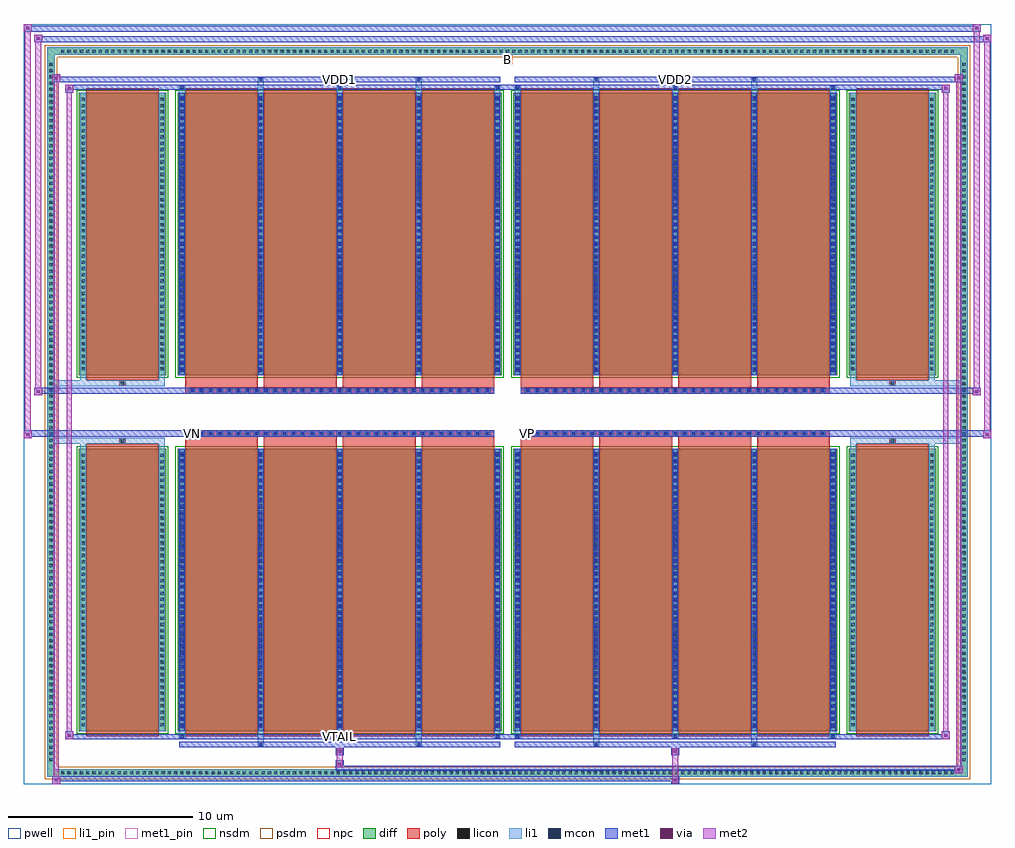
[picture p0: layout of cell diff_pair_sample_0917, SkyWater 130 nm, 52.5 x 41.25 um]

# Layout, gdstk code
import gdstk
lib = gdstk.Library(unit=1e-6, precision=5e-09)
def R(c, l, rs):  # rectangles x0, y0, x1, y1
    for r in rs: c.add(gdstk.rectangle(r[:2], r[2:], *l))
def A(c, l, x, y, w, h, nx, ny, dx, dy):  # array of equal rectangles
    R(c, l, [(x+i*dx, y+j*dy, x+i*dx+w, y+j*dy+h) for i in range(nx) for j in range(ny)])
def P(c, l, *ps):  # polygons
    for p in ps: c.add(gdstk.Polygon(p, *l))
pwell = (64, 44)
diff = (65, 20)
poly = (66, 20)
licon = (66, 44)
li1_pin = (67, 16)
li1 = (67, 20)
mcon = (67, 44)
met1_pin = (68, 16)
met1 = (68, 20)
via = (68, 44)
met2 = (69, 20)
nsdm = (93, 44)
psdm = (94, 20)
npc = (95, 20)

diff_pair_sample_0917 = lib.new_cell('diff_pair_sample_0917')
R(diff_pair_sample_0917, pwell, [(-26.25,-20.19,26.25,21.06), (-23.57,-18.38,-0.01,-0.8), (0.01,-18.38,23.57,-0.8), (-23.57,0.8,-0.01,18.38), (0.01,0.8,23.57,18.38)])
A(diff_pair_sample_0917, diff, -24.345, -19.79, 0.41, 0.41, 143, 2, 0.34, 39.17)
A(diff_pair_sample_0917, diff, -24.98, -19.075, 0.41, 0.41, 1, 112, 0, 0.34)
A(diff_pair_sample_0917, diff, 24.57, -19.075, 0.41, 0.41, 1, 112, 0, 0.34)
R(diff_pair_sample_0917, diff, [(-24.345,-19.79,24.345,-19.38), (-24.98,-19.075,-24.57,19.075), (24.57,-19.075,24.98,19.075), (-23.26,-17.335,-18.53,-1.985), (-17.89,-17.335,-0.32,-1.985), (0.32,-17.335,17.89,-1.985), (18.53,-17.335,23.26,-1.985), (-23.26,1.985,-18.53,17.335), (-17.89,1.985,-0.32,17.335), (0.32,1.985,17.89,17.335), (18.53,1.985,23.26,17.335), (-24.345,19.38,24.345,19.79)])
P(diff_pair_sample_0917, diff, [(24.98,19.79),(-24.98,19.79),(-24.98,-19.38),(-24.57,-19.38),(-24.57,19.38),(24.57,19.38),(24.57,-19.38),(-24.57,-19.38),(-24.98,-19.38),(-24.98,-19.79),(24.98,-19.79)])
A(diff_pair_sample_0917, poly, -17.5, -17.585, 3.95, 15.85, 4, 2, 4.28, 19.32)
A(diff_pair_sample_0917, poly, 0.71, -17.585, 3.95, 15.85, 4, 2, 4.28, 19.32)
A(diff_pair_sample_0917, poly, -17.5, -1.735, 3.95, 0.405, 4, 2, 4.28, 3.065)
A(diff_pair_sample_0917, poly, 0.71, -1.735, 3.95, 0.405, 4, 2, 4.28, 3.065)
A(diff_pair_sample_0917, poly, -17.27, -1.33, 0.33, 0.33, 33, 2, 0.5, 2.33)
A(diff_pair_sample_0917, poly, 0.94, -1.33, 0.33, 0.33, 33, 2, 0.5, 2.33)
R(diff_pair_sample_0917, poly, [(-22.87,-17.585,-18.92,-1.735), (18.92,-17.585,22.87,-1.735), (-21.06,-1.735,-20.73,-1.405), (-21.06,-1.735,-20.73,-1.405), (20.73,-1.735,21.06,-1.405), (20.73,-1.735,21.06,-1.405), (-17.5,-1.33,-0.71,-1), (0.71,-1.33,17.5,-1), (-17.5,1,-0.71,1.33), (0.71,1,17.5,1.33), (-21.06,1.405,-20.73,1.735), (-21.06,1.405,-20.73,1.735), (20.73,1.405,21.06,1.735), (20.73,1.405,21.06,1.735), (-22.87,1.735,-18.92,17.585), (18.92,1.735,22.87,17.585)])
A(diff_pair_sample_0917, licon, -24.225, -19.67, 0.17, 0.17, 143, 2, 0.34, 39.17)
A(diff_pair_sample_0917, licon, -24.86, -18.955, 0.17, 0.17, 1, 112, 0, 0.34)
A(diff_pair_sample_0917, licon, 24.69, -18.955, 0.17, 0.17, 1, 112, 0, 0.34)
A(diff_pair_sample_0917, licon, -23.12, -17.055, 0.17, 0.17, 1, 44, 0, 0.34)
A(diff_pair_sample_0917, licon, -18.84, -17.055, 0.17, 0.17, 1, 44, 0, 0.34)
A(diff_pair_sample_0917, licon, -17.75, -17.055, 0.17, 0.17, 5, 44, 4.28, 0.34)
A(diff_pair_sample_0917, licon, 0.46, -17.055, 0.17, 0.17, 5, 44, 4.28, 0.34)
A(diff_pair_sample_0917, licon, 18.67, -17.055, 0.17, 0.17, 1, 44, 0, 0.34)
A(diff_pair_sample_0917, licon, 22.95, -17.055, 0.17, 0.17, 1, 44, 0, 0.34)
A(diff_pair_sample_0917, licon, -17.19, -1.25, 0.17, 0.17, 33, 2, 0.5, 2.33)
A(diff_pair_sample_0917, licon, 1.02, -1.25, 0.17, 0.17, 33, 2, 0.5, 2.33)
A(diff_pair_sample_0917, licon, -23.12, 2.265, 0.17, 0.17, 1, 44, 0, 0.34)
A(diff_pair_sample_0917, licon, -18.84, 2.265, 0.17, 0.17, 1, 44, 0, 0.34)
A(diff_pair_sample_0917, licon, -17.75, 2.265, 0.17, 0.17, 5, 44, 4.28, 0.34)
A(diff_pair_sample_0917, licon, 0.46, 2.265, 0.17, 0.17, 5, 44, 4.28, 0.34)
A(diff_pair_sample_0917, licon, 18.67, 2.265, 0.17, 0.17, 1, 44, 0, 0.34)
A(diff_pair_sample_0917, licon, 22.95, 2.265, 0.17, 0.17, 1, 44, 0, 0.34)
R(diff_pair_sample_0917, licon, [(-20.98,-1.655,-20.81,-1.485), (20.81,-1.655,20.98,-1.485), (-20.98,1.485,-20.81,1.655), (20.81,1.485,20.98,1.655)])
R(diff_pair_sample_0917, li1_pin, [(-0.25,18.88,0.25,19.38)])
A(diff_pair_sample_0917, li1, -24.305, -19.75, 0.33, 0.33, 143, 2, 0.34, 39.17)
A(diff_pair_sample_0917, li1, -24.94, -19.035, 0.33, 0.33, 1, 112, 0, 0.34)
A(diff_pair_sample_0917, li1, 24.61, -19.035, 0.33, 0.33, 1, 112, 0, 0.34)
A(diff_pair_sample_0917, li1, -17.83, -17.71, 0.33, 0.375, 3, 2, 8.56, 35.045)
A(diff_pair_sample_0917, li1, -17.75, -17.71, 0.17, 0.17, 3, 2, 8.56, 35.25)
A(diff_pair_sample_0917, li1, 0.38, -17.71, 0.33, 0.375, 3, 2, 8.56, 35.045)
A(diff_pair_sample_0917, li1, 0.46, -17.71, 0.17, 0.17, 3, 2, 8.56, 35.25)
A(diff_pair_sample_0917, li1, -17.83, -17.335, 0.33, 15.35, 5, 2, 4.28, 19.32)
A(diff_pair_sample_0917, li1, 0.38, -17.335, 0.33, 15.35, 5, 2, 4.28, 19.32)
A(diff_pair_sample_0917, li1, -23.2, -17.135, 0.33, 0.33, 1, 44, 0, 0.34)
A(diff_pair_sample_0917, li1, -18.92, -17.135, 0.33, 0.33, 1, 44, 0, 0.34)
A(diff_pair_sample_0917, li1, -17.83, -17.135, 0.33, 0.33, 5, 44, 4.28, 0.34)
A(diff_pair_sample_0917, li1, 0.38, -17.135, 0.33, 0.33, 5, 44, 4.28, 0.34)
A(diff_pair_sample_0917, li1, 18.59, -17.135, 0.33, 0.33, 1, 44, 0, 0.34)
A(diff_pair_sample_0917, li1, 22.87, -17.135, 0.33, 0.33, 1, 44, 0, 0.34)
A(diff_pair_sample_0917, li1, -17.75, -17.125, 0.17, 0.17, 5, 42, 4.28, 0.36)
A(diff_pair_sample_0917, li1, -17.75, -17.125, 0.17, 14.93, 5, 2, 4.28, 19.32)
A(diff_pair_sample_0917, li1, 0.46, -17.125, 0.17, 0.17, 5, 42, 4.28, 0.36)
A(diff_pair_sample_0917, li1, 0.46, -17.125, 0.17, 14.93, 5, 2, 4.28, 19.32)
A(diff_pair_sample_0917, li1, -17.27, -1.33, 0.33, 0.33, 33, 2, 0.5, 2.33)
A(diff_pair_sample_0917, li1, 0.94, -1.33, 0.33, 0.33, 33, 2, 0.5, 2.33)
A(diff_pair_sample_0917, li1, -23.2, 2.185, 0.33, 0.33, 1, 44, 0, 0.34)
A(diff_pair_sample_0917, li1, -18.92, 2.185, 0.33, 0.33, 1, 44, 0, 0.34)
A(diff_pair_sample_0917, li1, -17.83, 2.185, 0.33, 0.33, 5, 44, 4.28, 0.34)
A(diff_pair_sample_0917, li1, 0.38, 2.185, 0.33, 0.33, 5, 44, 4.28, 0.34)
A(diff_pair_sample_0917, li1, 18.59, 2.185, 0.33, 0.33, 1, 44, 0, 0.34)
A(diff_pair_sample_0917, li1, 22.87, 2.185, 0.33, 0.33, 1, 44, 0, 0.34)
A(diff_pair_sample_0917, li1, -17.75, 2.195, 0.17, 0.17, 5, 42, 4.28, 0.36)
A(diff_pair_sample_0917, li1, 0.46, 2.195, 0.17, 0.17, 5, 42, 4.28, 0.36)
R(diff_pair_sample_0917, li1, [(-24.98,-19.79,-24.57,-19.38), (-24.98,-19.79,-24.57,-19.38), (-24.57,-19.79,24.57,-19.38), (24.57,-19.79,24.98,-19.38), (24.57,-19.79,24.98,-19.38), (-24.98,-19.38,-24.57,19.38), (24.57,-19.38,24.98,19.38), (-13.55,-18.14,-13.22,-17.335), (-13.47,-18.14,-13.3,-17.97), (-4.99,-18.14,-4.66,-17.335), (-4.91,-18.14,-4.74,-17.97), (4.66,-18.14,4.99,-17.335), (4.74,-18.14,4.91,-17.97), (13.22,-18.14,13.55,-17.335), (13.3,-18.14,13.47,-17.97), (-23.2,-17.335,-22.87,-1.985), (-18.92,-17.335,-18.59,-1.985), (18.59,-17.335,18.92,-1.985), (22.87,-17.335,23.2,-1.985), (-23.2,-1.985,-22.87,-1.405), (-18.92,-1.985,-18.59,-1.405), (18.59,-1.985,18.92,-1.405), (22.87,-1.985,23.2,-1.405), (-24.98,-1.735,-21.06,-1.405), (-23.2,-1.735,-21.06,-1.405), (-21.06,-1.735,-20.73,-1.405), (-20.73,-1.735,-18.59,-1.405), (18.59,-1.735,20.73,-1.405), (20.73,-1.735,21.06,-1.405), (20.73,-1.735,24.98,-1.405), (21.06,-1.735,23.2,-1.405), (-24.98,1.405,-21.06,1.735), (-23.2,1.405,-21.06,1.735), (-23.2,1.405,-22.87,1.985), (-21.06,1.405,-20.73,1.735), (-20.73,1.405,-18.59,1.735), (-18.92,1.405,-18.59,1.985), (18.59,1.405,20.73,1.735), (18.59,1.405,18.92,1.985), (20.73,1.405,21.06,1.735), (20.73,1.405,24.98,1.735), (21.06,1.405,23.2,1.735), (22.87,1.405,23.2,1.985), (-23.2,1.985,-22.87,17.335), (-18.92,1.985,-18.59,17.335), (18.59,1.985,18.92,17.335), (22.87,1.985,23.2,17.335), (-13.55,17.335,-13.22,18.14), (-4.99,17.335,-4.66,18.14), (4.66,17.335,4.99,18.14), (13.22,17.335,13.55,18.14), (-13.47,17.97,-13.3,18.14), (-4.91,17.97,-4.74,18.14), (4.74,17.97,4.91,18.14), (13.3,17.97,13.47,18.14), (-24.98,19.38,-24.57,19.79), (-24.98,19.38,-24.57,19.79), (-24.57,19.38,24.57,19.79), (24.57,19.38,24.98,19.79), (24.57,19.38,24.98,19.79)])
A(diff_pair_sample_0917, mcon, -17.75, -17.71, 0.17, 0.17, 3, 2, 8.56, 35.25)
A(diff_pair_sample_0917, mcon, 0.46, -17.71, 0.17, 0.17, 3, 2, 8.56, 35.25)
A(diff_pair_sample_0917, mcon, -17.75, -17.125, 0.17, 0.17, 5, 42, 4.28, 0.36)
A(diff_pair_sample_0917, mcon, 0.46, -17.125, 0.17, 0.17, 5, 42, 4.28, 0.36)
A(diff_pair_sample_0917, mcon, -17.19, -1.25, 0.17, 0.17, 33, 2, 0.5, 2.33)
A(diff_pair_sample_0917, mcon, 1.02, -1.25, 0.17, 0.17, 33, 2, 0.5, 2.33)
A(diff_pair_sample_0917, mcon, -17.75, 2.195, 0.17, 0.17, 5, 42, 4.28, 0.36)
A(diff_pair_sample_0917, mcon, 0.46, 2.195, 0.17, 0.17, 5, 42, 4.28, 0.36)
R(diff_pair_sample_0917, mcon, [(-13.47,-18.14,-13.3,-17.97), (-4.91,-18.14,-4.74,-17.97), (4.74,-18.14,4.91,-17.97), (13.3,-18.14,13.47,-17.97), (-13.47,17.97,-13.3,18.14), (-4.91,17.97,-4.74,18.14), (4.74,17.97,4.91,18.14), (13.3,17.97,13.47,18.14)])
R(diff_pair_sample_0917, met1_pin, [(-9.24,-17.75,-8.97,-17.48), (-17.24,-1.29,-16.97,-1.02), (0.97,-1.29,1.24,-1.02), (-9.24,17.93,-8.97,18.2), (8.97,17.93,9.24,18.2)])
A(diff_pair_sample_0917, met1, -17.81, -17.77, 0.29, 0.29, 3, 2, 8.56, 35.25)
A(diff_pair_sample_0917, met1, 0.4, -17.77, 0.29, 0.29, 3, 2, 8.56, 35.25)
A(diff_pair_sample_0917, met1, -17.81, -17.335, 0.29, 15.35, 5, 2, 4.28, 19.32)
A(diff_pair_sample_0917, met1, 0.4, -17.335, 0.29, 15.35, 5, 2, 4.28, 19.32)
A(diff_pair_sample_0917, met1, -17.81, -17.185, 0.29, 0.29, 5, 42, 4.28, 0.36)
A(diff_pair_sample_0917, met1, 0.4, -17.185, 0.29, 0.29, 5, 42, 4.28, 0.36)
A(diff_pair_sample_0917, met1, -17.25, -1.31, 0.29, 0.29, 33, 2, 0.5, 2.33)
A(diff_pair_sample_0917, met1, 0.96, -1.31, 0.29, 0.29, 33, 2, 0.5, 2.33)
A(diff_pair_sample_0917, met1, -17.81, 2.135, 0.29, 0.29, 5, 42, 4.28, 0.36)
A(diff_pair_sample_0917, met1, 0.4, 2.135, 0.29, 0.29, 5, 42, 4.28, 0.36)
R(diff_pair_sample_0917, met1, [(-24.71,-20.19,-24.28,-19.76), (8.89,-20.19,9.32,-19.76), (-24.71,-20.05,9.32,-19.76), (24.28,-19.62,24.71,-19.19), (-9.32,-19.48,24.71,-19.19), (-9.32,-19.34,-8.89,-18.91), (-9.32,-18.63,-8.89,-18.2), (8.89,-18.63,9.32,-18.2), (-17.81,-18.2,-0.4,-17.91), (-13.53,-18.2,-13.24,-17.91), (-4.97,-18.2,-4.68,-17.91), (0.4,-18.2,17.81,-17.91), (4.68,-18.2,4.97,-17.91), (13.24,-18.2,13.53,-17.91), (-24,-17.77,-23.57,-17.34), (-24,-17.77,-17.81,-17.48), (-17.81,-17.77,-0.4,-17.48), (-0.4,-17.77,0.4,-17.48), (0.4,-17.77,17.81,-17.48), (17.81,-17.77,24,-17.48), (23.57,-17.77,24,-17.34), (-26.25,-1.43,-25.82,-1), (25.82,-1.43,26.25,-1), (-26.25,-1.33,-0.71,-1), (-17.5,-1.33,-0.71,-1), (0.71,-1.33,17.5,-1), (0.71,-1.33,26.25,-1), (-25.68,0.9,-25.25,1.33), (25.25,0.9,25.68,1.33), (-25.68,1,-17.5,1.33), (-17.5,1,-0.71,1.33), (0.71,1,17.5,1.33), (17.5,1,25.68,1.33), (-24,17.34,-23.57,17.77), (23.57,17.34,24,17.77), (-24,17.48,-17.81,17.77), (-17.81,17.48,-0.4,17.77), (-0.4,17.48,0.4,17.77), (0.4,17.48,17.81,17.77), (17.81,17.48,24,17.77), (-24.71,17.91,-24.28,18.34), (-24.71,17.91,-17.81,18.2), (-17.81,17.91,-0.4,18.2), (-13.53,17.91,-13.24,18.2), (-4.97,17.91,-4.68,18.2), (0.4,17.91,17.81,18.2), (4.68,17.91,4.97,18.2), (13.24,17.91,13.53,18.2), (17.81,17.91,24.71,18.2), (24.28,17.91,24.71,18.34), (-25.68,20.06,-25.25,20.49), (-25.68,20.06,-23.57,20.39), (-23.57,20.06,23.57,20.39), (23.57,20.06,26.25,20.39), (25.82,20.06,26.25,20.49), (-26.25,20.63,-25.82,21.06), (-26.25,20.63,-23.57,20.96), (-23.57,20.63,23.57,20.96), (23.57,20.63,25.68,20.96), (25.25,20.63,25.68,21.06)])
R(diff_pair_sample_0917, via, [(-24.57,-20.05,-24.42,-19.9), (9.03,-20.05,9.18,-19.9), (24.42,-19.48,24.57,-19.33), (-9.18,-19.2,-9.03,-19.05), (-9.18,-18.49,-9.03,-18.34), (9.03,-18.49,9.18,-18.34), (-23.86,-17.63,-23.71,-17.48), (23.71,-17.63,23.86,-17.48), (-26.11,-1.29,-25.96,-1.14), (25.96,-1.29,26.11,-1.14), (-25.54,1.04,-25.39,1.19), (25.39,1.04,25.54,1.19), (-23.86,17.48,-23.71,17.63), (23.71,17.48,23.86,17.63), (-24.57,18.05,-24.42,18.2), (24.42,18.05,24.57,18.2), (-25.54,20.2,-25.39,20.35), (25.96,20.2,26.11,20.35), (-26.11,20.77,-25.96,20.92), (25.39,20.77,25.54,20.92)])
R(diff_pair_sample_0917, met2, [(-24.71,-20.19,-24.28,-19.76), (-24.64,-20.19,-24.35,18.34), (-24.35,-20.19,-24.28,-19.76), (-24.66,-20.14,-24.33,-19.81), (8.94,-20.14,9.27,-19.81), (8.94,-19.81,9.27,-18.58), (24.28,-19.62,24.71,-19.19), (24.35,-19.62,24.64,18.34), (24.64,-19.62,24.71,-19.19), (24.33,-19.57,24.66,-19.24), (-9.27,-19.29,-8.94,-18.96), (-9.27,-18.96,-8.94,-18.58), (-9.27,-18.58,-8.94,-18.25), (8.94,-18.58,9.27,-18.25), (-24,-17.77,-23.57,-17.34), (-23.93,-17.77,-23.64,17.77), (-23.64,-17.77,-23.57,-17.34), (23.57,-17.77,24,-17.34), (23.64,-17.77,23.93,17.77), (23.93,-17.77,24,-17.34), (-23.95,-17.72,-23.62,-17.39), (23.62,-17.72,23.95,-17.39), (-26.25,-1.43,-25.82,-1), (-26.2,-1.43,-25.87,21.06), (-25.87,-1.43,-25.82,-1), (25.82,-1.43,26.25,-1), (25.87,-1.43,26.2,20.49), (26.2,-1.43,26.25,-1), (-26.2,-1.38,-25.87,-1.05), (25.87,-1.38,26.2,-1.05), (-25.68,0.9,-25.25,1.33), (-25.63,0.9,-25.3,20.49), (-25.3,0.9,-25.25,1.33), (25.25,0.9,25.68,1.33), (25.3,0.9,25.63,21.06), (25.63,0.9,25.68,1.33), (-25.63,0.95,-25.3,1.28), (25.3,0.95,25.63,1.28), (-24,17.34,-23.57,17.77), (-23.64,17.34,-23.57,17.77), (23.57,17.34,24,17.77), (23.93,17.34,24,17.77), (-23.95,17.39,-23.62,17.72), (23.62,17.39,23.95,17.72), (-24.71,17.91,-24.28,18.34), (-24.35,17.91,-24.28,18.34), (24.28,17.91,24.71,18.34), (24.64,17.91,24.71,18.34), (-24.66,17.96,-24.33,18.29), (24.33,17.96,24.66,18.29), (-25.68,20.06,-25.25,20.49), (-25.3,20.06,-25.25,20.49), (25.82,20.06,26.25,20.49), (26.2,20.06,26.25,20.49), (-25.63,20.11,-25.3,20.44), (25.87,20.11,26.2,20.44), (-26.25,20.63,-25.82,21.06), (-25.87,20.63,-25.82,21.06), (25.25,20.63,25.68,21.06), (25.63,20.63,25.68,21.06), (-26.2,20.68,-25.87,21.01), (25.3,20.68,25.63,21.01)])
R(diff_pair_sample_0917, nsdm, [(-23.39,-17.465,-18.4,-1.855), (-18.02,-17.465,-0.19,-1.855), (0.19,-17.465,18.02,-1.855), (18.4,-17.465,23.39,-1.855), (-23.39,1.855,-18.4,17.465), (-18.02,1.855,-0.19,17.465), (0.19,1.855,18.02,17.465), (18.4,1.855,23.39,17.465)])
P(diff_pair_sample_0917, psdm, [(25.11,19.92),(-25.11,19.92),(-25.11,-19.25),(-24.44,-19.25),(-24.44,19.25),(24.44,19.25),(24.44,-19.25),(-24.44,-19.25),(-25.11,-19.25),(-25.11,-19.92),(25.11,-19.92)])
A(diff_pair_sample_0917, npc, -17.29, -1.35, 0.37, 0.37, 33, 2, 0.5, 2.33)
A(diff_pair_sample_0917, npc, 0.92, -1.35, 0.37, 0.37, 33, 2, 0.5, 2.33)
R(diff_pair_sample_0917, npc, [(-21.08,-1.755,-20.71,-1.385), (20.71,-1.755,21.08,-1.385), (-17.29,-1.35,-16.42,-0.98), (-17.29,-1.35,-16.42,-0.98), (-16.79,-1.35,-15.92,-0.98), (-16.79,-1.35,-15.92,-0.98), (-16.29,-1.35,-15.42,-0.98), (-16.29,-1.35,-15.42,-0.98), (-15.79,-1.35,-14.92,-0.98), (-15.79,-1.35,-14.92,-0.98), (-15.29,-1.35,-14.42,-0.98), (-15.29,-1.35,-14.42,-0.98), (-14.79,-1.35,-13.92,-0.98), (-14.79,-1.35,-13.92,-0.98), (-14.29,-1.35,-13.42,-0.98), (-14.29,-1.35,-13.42,-0.98), (-13.79,-1.35,-12.92,-0.98), (-13.79,-1.35,-12.92,-0.98), (-13.29,-1.35,-12.42,-0.98), (-13.29,-1.35,-12.42,-0.98), (-12.79,-1.35,-11.92,-0.98), (-12.79,-1.35,-11.92,-0.98), (-12.29,-1.35,-11.42,-0.98), (-12.29,-1.35,-11.42,-0.98), (-11.79,-1.35,-10.92,-0.98), (-11.79,-1.35,-10.92,-0.98), (-11.29,-1.35,-10.42,-0.98), (-11.29,-1.35,-10.42,-0.98), (-10.79,-1.35,-9.92,-0.98), (-10.79,-1.35,-9.92,-0.98), (-10.29,-1.35,-9.42,-0.98), (-10.29,-1.35,-9.42,-0.98), (-9.79,-1.35,-8.92,-0.98), (-9.79,-1.35,-8.92,-0.98), (-9.29,-1.35,-8.42,-0.98), (-9.29,-1.35,-8.42,-0.98), (-8.79,-1.35,-7.92,-0.98), (-8.79,-1.35,-7.92,-0.98), (-8.29,-1.35,-7.42,-0.98), (-8.29,-1.35,-7.42,-0.98), (-7.79,-1.35,-6.92,-0.98), (-7.79,-1.35,-6.92,-0.98), (-7.29,-1.35,-6.42,-0.98), (-7.29,-1.35,-6.42,-0.98), (-6.79,-1.35,-5.92,-0.98), (-6.79,-1.35,-5.92,-0.98), (-6.29,-1.35,-5.42,-0.98), (-6.29,-1.35,-5.42,-0.98), (-5.79,-1.35,-4.92,-0.98), (-5.79,-1.35,-4.92,-0.98), (-5.29,-1.35,-4.42,-0.98), (-5.29,-1.35,-4.42,-0.98), (-4.79,-1.35,-3.92,-0.98), (-4.79,-1.35,-3.92,-0.98), (-4.29,-1.35,-3.42,-0.98), (-4.29,-1.35,-3.42,-0.98), (-3.79,-1.35,-2.92,-0.98), (-3.79,-1.35,-2.92,-0.98), (-3.29,-1.35,-2.42,-0.98), (-3.29,-1.35,-2.42,-0.98), (-2.79,-1.35,-1.92,-0.98), (-2.79,-1.35,-1.92,-0.98), (-2.29,-1.35,-1.42,-0.98), (-2.29,-1.35,-1.42,-0.98), (-1.79,-1.35,-0.92,-0.98), (-1.79,-1.35,-0.92,-0.98), (0.92,-1.35,1.79,-0.98), (0.92,-1.35,1.79,-0.98), (1.42,-1.35,2.29,-0.98), (1.42,-1.35,2.29,-0.98), (1.92,-1.35,2.79,-0.98), (1.92,-1.35,2.79,-0.98), (2.42,-1.35,3.29,-0.98), (2.42,-1.35,3.29,-0.98), (2.92,-1.35,3.79,-0.98), (2.92,-1.35,3.79,-0.98), (3.42,-1.35,4.29,-0.98), (3.42,-1.35,4.29,-0.98), (3.92,-1.35,4.79,-0.98), (3.92,-1.35,4.79,-0.98), (4.42,-1.35,5.29,-0.98), (4.42,-1.35,5.29,-0.98), (4.92,-1.35,5.79,-0.98), (4.92,-1.35,5.79,-0.98), (5.42,-1.35,6.29,-0.98), (5.42,-1.35,6.29,-0.98), (5.92,-1.35,6.79,-0.98), (5.92,-1.35,6.79,-0.98), (6.42,-1.35,7.29,-0.98), (6.42,-1.35,7.29,-0.98), (6.92,-1.35,7.79,-0.98), (6.92,-1.35,7.79,-0.98), (7.42,-1.35,8.29,-0.98), (7.42,-1.35,8.29,-0.98), (7.92,-1.35,8.79,-0.98), (7.92,-1.35,8.79,-0.98), (8.42,-1.35,9.29,-0.98), (8.42,-1.35,9.29,-0.98), (8.92,-1.35,9.79,-0.98), (8.92,-1.35,9.79,-0.98), (9.42,-1.35,10.29,-0.98), (9.42,-1.35,10.29,-0.98), (9.92,-1.35,10.79,-0.98), (9.92,-1.35,10.79,-0.98), (10.42,-1.35,11.29,-0.98), (10.42,-1.35,11.29,-0.98), (10.92,-1.35,11.79,-0.98), (10.92,-1.35,11.79,-0.98), (11.42,-1.35,12.29,-0.98), (11.42,-1.35,12.29,-0.98), (11.92,-1.35,12.79,-0.98), (11.92,-1.35,12.79,-0.98), (12.42,-1.35,13.29,-0.98), (12.42,-1.35,13.29,-0.98), (12.92,-1.35,13.79,-0.98), (12.92,-1.35,13.79,-0.98), (13.42,-1.35,14.29,-0.98), (13.42,-1.35,14.29,-0.98), (13.92,-1.35,14.79,-0.98), (13.92,-1.35,14.79,-0.98), (14.42,-1.35,15.29,-0.98), (14.42,-1.35,15.29,-0.98), (14.92,-1.35,15.79,-0.98), (14.92,-1.35,15.79,-0.98), (15.42,-1.35,16.29,-0.98), (15.42,-1.35,16.29,-0.98), (15.92,-1.35,16.79,-0.98), (15.92,-1.35,16.79,-0.98), (16.42,-1.35,17.29,-0.98), (16.42,-1.35,17.29,-0.98), (-17.29,0.98,-16.42,1.35), (-17.29,0.98,-16.42,1.35), (-16.79,0.98,-15.92,1.35), (-16.79,0.98,-15.92,1.35), (-16.29,0.98,-15.42,1.35), (-16.29,0.98,-15.42,1.35), (-15.79,0.98,-14.92,1.35), (-15.79,0.98,-14.92,1.35), (-15.29,0.98,-14.42,1.35), (-15.29,0.98,-14.42,1.35), (-14.79,0.98,-13.92,1.35), (-14.79,0.98,-13.92,1.35), (-14.29,0.98,-13.42,1.35), (-14.29,0.98,-13.42,1.35), (-13.79,0.98,-12.92,1.35), (-13.79,0.98,-12.92,1.35), (-13.29,0.98,-12.42,1.35), (-13.29,0.98,-12.42,1.35), (-12.79,0.98,-11.92,1.35), (-12.79,0.98,-11.92,1.35), (-12.29,0.98,-11.42,1.35), (-12.29,0.98,-11.42,1.35), (-11.79,0.98,-10.92,1.35), (-11.79,0.98,-10.92,1.35), (-11.29,0.98,-10.42,1.35), (-11.29,0.98,-10.42,1.35), (-10.79,0.98,-9.92,1.35), (-10.79,0.98,-9.92,1.35), (-10.29,0.98,-9.42,1.35), (-10.29,0.98,-9.42,1.35), (-9.79,0.98,-8.92,1.35), (-9.79,0.98,-8.92,1.35), (-9.29,0.98,-8.42,1.35), (-9.29,0.98,-8.42,1.35), (-8.79,0.98,-7.92,1.35), (-8.79,0.98,-7.92,1.35), (-8.29,0.98,-7.42,1.35), (-8.29,0.98,-7.42,1.35), (-7.79,0.98,-6.92,1.35), (-7.79,0.98,-6.92,1.35), (-7.29,0.98,-6.42,1.35), (-7.29,0.98,-6.42,1.35), (-6.79,0.98,-5.92,1.35), (-6.79,0.98,-5.92,1.35), (-6.29,0.98,-5.42,1.35), (-6.29,0.98,-5.42,1.35), (-5.79,0.98,-4.92,1.35), (-5.79,0.98,-4.92,1.35), (-5.29,0.98,-4.42,1.35), (-5.29,0.98,-4.42,1.35), (-4.79,0.98,-3.92,1.35), (-4.79,0.98,-3.92,1.35), (-4.29,0.98,-3.42,1.35), (-4.29,0.98,-3.42,1.35), (-3.79,0.98,-2.92,1.35), (-3.79,0.98,-2.92,1.35), (-3.29,0.98,-2.42,1.35), (-3.29,0.98,-2.42,1.35), (-2.79,0.98,-1.92,1.35), (-2.79,0.98,-1.92,1.35), (-2.29,0.98,-1.42,1.35), (-2.29,0.98,-1.42,1.35), (-1.79,0.98,-0.92,1.35), (-1.79,0.98,-0.92,1.35), (0.92,0.98,1.79,1.35), (0.92,0.98,1.79,1.35), (1.42,0.98,2.29,1.35), (1.42,0.98,2.29,1.35), (1.92,0.98,2.79,1.35), (1.92,0.98,2.79,1.35), (2.42,0.98,3.29,1.35), (2.42,0.98,3.29,1.35), (2.92,0.98,3.79,1.35), (2.92,0.98,3.79,1.35), (3.42,0.98,4.29,1.35), (3.42,0.98,4.29,1.35), (3.92,0.98,4.79,1.35), (3.92,0.98,4.79,1.35), (4.42,0.98,5.29,1.35), (4.42,0.98,5.29,1.35), (4.92,0.98,5.79,1.35), (4.92,0.98,5.79,1.35), (5.42,0.98,6.29,1.35), (5.42,0.98,6.29,1.35), (5.92,0.98,6.79,1.35), (5.92,0.98,6.79,1.35), (6.42,0.98,7.29,1.35), (6.42,0.98,7.29,1.35), (6.92,0.98,7.79,1.35), (6.92,0.98,7.79,1.35), (7.42,0.98,8.29,1.35), (7.42,0.98,8.29,1.35), (7.92,0.98,8.79,1.35), (7.92,0.98,8.79,1.35), (8.42,0.98,9.29,1.35), (8.42,0.98,9.29,1.35), (8.92,0.98,9.79,1.35), (8.92,0.98,9.79,1.35), (9.42,0.98,10.29,1.35), (9.42,0.98,10.29,1.35), (9.92,0.98,10.79,1.35), (9.92,0.98,10.79,1.35), (10.42,0.98,11.29,1.35), (10.42,0.98,11.29,1.35), (10.92,0.98,11.79,1.35), (10.92,0.98,11.79,1.35), (11.42,0.98,12.29,1.35), (11.42,0.98,12.29,1.35), (11.92,0.98,12.79,1.35), (11.92,0.98,12.79,1.35), (12.42,0.98,13.29,1.35), (12.42,0.98,13.29,1.35), (12.92,0.98,13.79,1.35), (12.92,0.98,13.79,1.35), (13.42,0.98,14.29,1.35), (13.42,0.98,14.29,1.35), (13.92,0.98,14.79,1.35), (13.92,0.98,14.79,1.35), (14.42,0.98,15.29,1.35), (14.42,0.98,15.29,1.35), (14.92,0.98,15.79,1.35), (14.92,0.98,15.79,1.35), (15.42,0.98,16.29,1.35), (15.42,0.98,16.29,1.35), (15.92,0.98,16.79,1.35), (15.92,0.98,16.79,1.35), (16.42,0.98,17.29,1.35), (16.42,0.98,17.29,1.35), (-21.08,1.385,-20.71,1.755), (20.71,1.385,21.08,1.755)])
diff_pair_sample_0917.add(gdstk.Label('VTAIL', (-9.105,-17.615), layer=68, texttype=5))
diff_pair_sample_0917.add(gdstk.Label('VN', (-17.105,-1.155), layer=68, texttype=5))
diff_pair_sample_0917.add(gdstk.Label('VP', (1.105,-1.155), layer=68, texttype=5))
diff_pair_sample_0917.add(gdstk.Label('B', (0,19.13), layer=67, texttype=5))
diff_pair_sample_0917.add(gdstk.Label('VDD2', (9.105,18.065), layer=68, texttype=5))
diff_pair_sample_0917.add(gdstk.Label('VDD1', (-9.105,18.065), layer=68, texttype=5))

lib.write_gds('diff_pair_sample_0917.gds')
